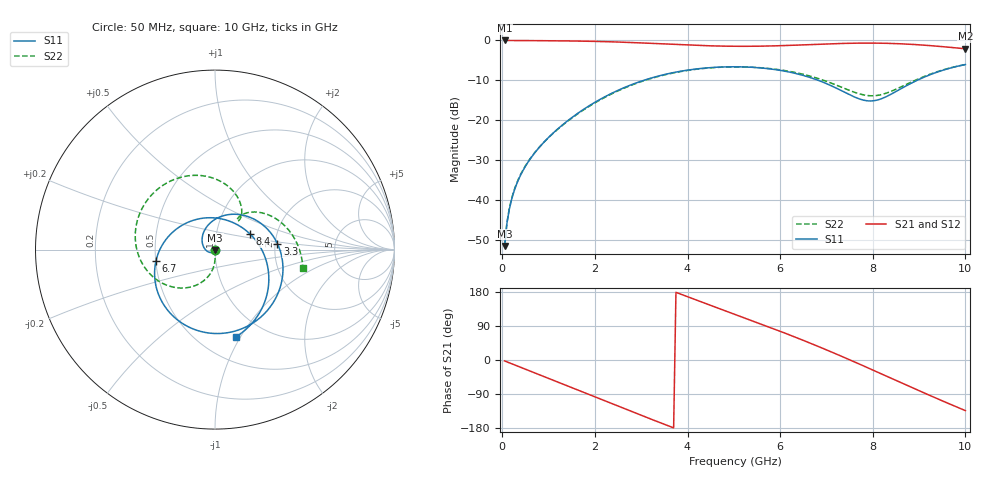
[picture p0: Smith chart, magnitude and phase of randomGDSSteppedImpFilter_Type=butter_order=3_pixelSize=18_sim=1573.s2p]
! freq	dB(S11)	phase(S11)	dB(S12)	phase(S12)
!  dB(S21)	phase(S21)	dB(S22)	phase(S22)
!S-par simulation data
#  GHz  S  DB  R 50
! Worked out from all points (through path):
!   200 points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, 50 MHz to 10 GHz, reference 50 ohm
!   highest |S21| = 0.00 dB at 50 MHz (marker M1); lowest = -2.1 dB at 10 GHz (marker M2)
!   group delay of S21, straight-line fit = 135 ps
!   lowest |S11| = -51.4 dB at 50 MHz (marker M3), VSWR 1.01, Z = 50 - j0.268 ohm
!   |S11| at or under -10 dB: start of sweep to 3.05 GHz; 6.826 GHz to 8.953 GHz (2.127 GHz wide, 27 % of centre)
!   |S22| runs from -51.5 to -6.0 dB; largest |S21 - S12| = 0
!   S11 on the Smith chart (normalised r, x): 50 MHz: 1.00, -0.01; 3.3 GHz: 2.06, +0.15; 6.7 GHz: 0.50, -0.07; 8.4 GHz: 1.45, +0.27; 10 GHz: 0.74, -0.96
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0.05  -51.44 -87.8  -0.00 -2.5  -0.00 -2.5  -51.49 -80.7
0.1  -45.79 -96.1  -0.01 -4.9  -0.01 -4.9  -45.65 -85.0
0.2  -39.84 -108.8  -0.02 -9.7  -0.02 -9.7  -39.63 -87.1
0.45  -32.49 -135.9  -0.03 -21.8  -0.03 -21.8  -32.35 -88.0
1.15  -22.63 157.9  -0.09 -55.7  -0.09 -55.7  -22.70 -91.6
1.75  -17.28 108.8  -0.18 -85.0  -0.18 -85.0  -17.42 -100.7
2.45  -12.74 58.6  -0.38 -119.2  -0.38 -119.2  -12.88 -118.4
2.9  -10.60 29.4  -0.57 -141.1  -0.57 -141.1  -10.71 -132.8
3.3  -9.13 5.3  -0.78 -160.2  -0.78 -160.2  -9.23 -146.7
3.4  -8.82 -0.5  -0.83 -165.0  -0.83 -165.0  -8.92 -150.4
4.15  -7.19 -41.2  -1.22 160.1  -1.22 160.1  -7.26 -178.8
5.05  -6.59 -85.6  -1.46 119.4  -1.46 119.4  -6.61 145.1
5.9  -7.31 -126.4  -1.35 80.5  -1.35 80.5  -7.21 109.2
6.7  -9.48 -168.8  -1.01 41.9  -1.01 41.9  -9.10 75.5
7.15  -11.59 161.5  -0.82 19.0  -0.82 19.0  -10.89 59.5
7.55  -13.87 126.1  -0.70 -2.1  -0.70 -2.1  -12.74 51.3
7.95  -15.14 78.0  -0.66 -23.7  -0.66 -23.7  -13.84 51.8
8.35  -13.73 29.5  -0.73 -45.5  -0.73 -45.5  -12.95 53.8
8.4  -13.42 24.3  -0.75 -48.3  -0.75 -48.3  -12.72 53.4
8.8  -10.89 -9.9  -0.95 -70.2  -0.95 -70.2  -10.59 45.1
9.15  -8.98 -32.8  -1.22 -89.1  -1.22 -89.1  -8.84 31.5
10  -6.03 -76.4  -2.09 -133.6  -2.09 -133.6  -6.03 -11.5
